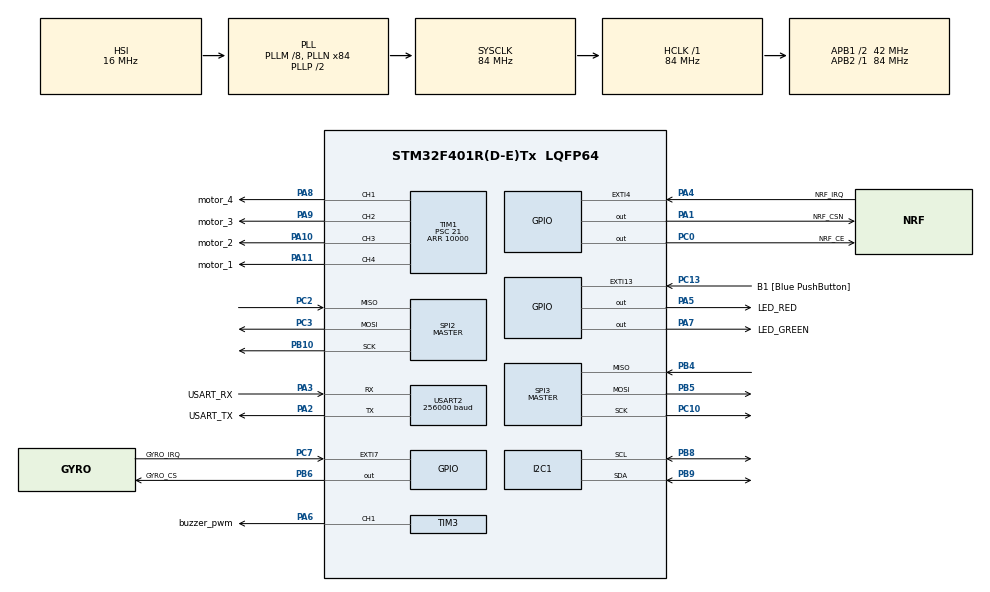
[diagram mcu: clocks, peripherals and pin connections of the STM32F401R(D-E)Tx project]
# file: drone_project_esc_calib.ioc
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Mcu.Family=STM32F4
Mcu.Name=STM32F401R(D-E)Tx
Mcu.Package=LQFP64
NVIC.EXTI4_IRQn=true\:0\:0\:false\:false\:true\:true\:true\:true
NVIC.EXTI9_5_IRQn=true\:0\:0\:false\:false\:true\:true\:true\:true
NVIC.PriorityGroup=NVIC_PRIORITYGROUP_0
NVIC.TIM2_IRQn=true\:0\:0\:false\:false\:true\:true\:true\:true
NVIC.USART2_IRQn=true\:0\:0\:false\:false\:true\:true\:true\:true
PA1.GPIO_Label=NRF_CSN
PA1.Signal=GPIO_Output
PA10.GPIO_Label=motor_2
PA10.Signal=S_TIM1_CH3
PA11.GPIO_Label=motor_1
PA11.Signal=S_TIM1_CH4
PA13.GPIO_Label=TMS
PA13.Signal=SYS_JTMS-SWDIO
PA14.GPIO_Label=TCK
PA14.Signal=SYS_JTCK-SWCLK
PA2.GPIO_Label=USART_TX
PA2.GPIO_Mode=GPIO_MODE_AF_PP
PA2.GPIO_PuPd=GPIO_NOPULL
PA2.GPIO_Speed=GPIO_SPEED_FREQ_LOW
PA2.Mode=Asynchronous
PA2.Signal=USART2_TX
PA3.GPIO_Label=USART_RX
PA3.GPIO_Mode=GPIO_MODE_AF_PP
PA3.GPIO_PuPd=GPIO_NOPULL
PA3.GPIO_Speed=GPIO_SPEED_FREQ_LOW
PA3.Mode=Asynchronous
PA3.Signal=USART2_RX
PA4.GPIO_Label=NRF_IRQ
PA4.GPIO_ModeDefaultEXTI=GPIO_MODE_IT_FALLING
PA4.Signal=GPXTI4
PA5.GPIO_Label=LED_RED
PA5.GPIO_Mode=GPIO_MODE_OUTPUT_PP
PA5.GPIO_PuPd=GPIO_NOPULL
PA5.GPIO_Speed=GPIO_SPEED_FREQ_LOW
PA5.Signal=GPIO_Output
PA6.GPIO_Label=buzzer_pwm
PA6.Signal=S_TIM3_CH1
PA7.GPIO_Label=LED_GREEN
PA7.Signal=GPIO_Output
PA8.GPIO_Label=motor_4
PA8.Signal=S_TIM1_CH1
PA9.GPIO_Label=motor_3
PA9.Signal=S_TIM1_CH2
PB10.Mode=Full_Duplex_Master
PB10.Signal=SPI2_SCK
PB3.GPIO_Label=SWO
PB3.Signal=SYS_JTDO-SWO
PB4.Mode=Full_Duplex_Master
PB4.Signal=SPI3_MISO
PB5.Mode=Full_Duplex_Master
PB5.Signal=SPI3_MOSI
PB6.GPIO_Label=GYRO_CS
PB6.GPIO_PuPd=GPIO_NOPULL
PB6.Signal=GPIO_Output
PB8.Mode=I2C
PB8.Signal=I2C1_SCL
PB9.Mode=I2C
PB9.Signal=I2C1_SDA
PC0.GPIO_Label=NRF_CE
PC0.Signal=GPIO_Output
PC10.Mode=Full_Duplex_Master
PC10.Signal=SPI3_SCK
PC13-ANTI_TAMP.GPIO_Label=B1 [Blue PushButton]
PC13-ANTI_TAMP.GPIO_ModeDefaultEXTI=GPIO_MODE_IT_FALLING
PC13-ANTI_TAMP.GPIO_PuPd=GPIO_NOPULL
PC13-ANTI_TAMP.Signal=GPXTI13
PC14-OSC32_IN.Signal=RCC_OSC32_IN
PC15-OSC32_OUT.Signal=RCC_OSC32_OUT
PC2.Mode=Full_Duplex_Master
PC2.Signal=SPI2_MISO
PC3.Mode=Full_Duplex_Master
PC3.Signal=SPI2_MOSI
PC7.GPIO_Label=GYRO_IRQ
PC7.Signal=GPXTI7
PH0\ -\ OSC_IN.Mode=HSE-External-Clock-Source
PH0\ -\ OSC_IN.Signal=RCC_OSC_IN
PH1\ -\ OSC_OUT.Mode=HSE-External-Clock-Source
PH1\ -\ OSC_OUT.Signal=RCC_OSC_OUT
ProjectManager.HeapSize=0x200
ProjectManager.StackSize=0x400
ProjectManager.TargetToolchain=STM32CubeIDE
RCC.48MHZClocksFreq_Value=24000000
RCC.AHBFreq_Value=84000000
RCC.APB1CLKDivider=RCC_HCLK_DIV2
RCC.APB1Freq_Value=42000000
RCC.APB1TimFreq_Value=84000000
RCC.APB2Freq_Value=84000000
RCC.APB2TimFreq_Value=84000000
RCC.CortexFreq_Value=84000000
RCC.HCLKFreq_Value=84000000
RCC.HSE_VALUE=8000000
RCC.HSI_VALUE=16000000
RCC.LSE_VALUE=32768
RCC.PLLM=8
RCC.PLLN=84
RCC.PLLQ=7
RCC.SYSCLKFreq_VALUE=84000000
RCC.SYSCLKSource=RCC_SYSCLKSOURCE_PLLCLK
RCC.VCOOutputFreq_Value=168000000
SH.S_TIM1_CH1.0=TIM1_CH1,PWM Generation1 CH1
SH.S_TIM1_CH2.0=TIM1_CH2,PWM Generation2 CH2
SH.S_TIM1_CH3.0=TIM1_CH3,PWM Generation3 CH3
SH.S_TIM1_CH4.0=TIM1_CH4,PWM Generation4 CH4
SH.S_TIM3_CH1.0=TIM3_CH1,PWM Generation1 CH1
SPI2.BaudRatePrescaler=SPI_BAUDRATEPRESCALER_16
SPI2.Direction=SPI_DIRECTION_2LINES
SPI2.Mode=SPI_MODE_MASTER
SPI2.VirtualType=VM_MASTER
SPI3.BaudRatePrescaler=SPI_BAUDRATEPRESCALER_32
SPI3.Direction=SPI_DIRECTION_2LINES
SPI3.Mode=SPI_MODE_MASTER
SPI3.VirtualType=VM_MASTER
TIM1.AutoReloadPreload=TIM_AUTORELOAD_PRELOAD_ENABLE
TIM1.Channel-PWM\ Generation1\ CH1=TIM_CHANNEL_1
TIM1.Channel-PWM\ Generation2\ CH2=TIM_CHANNEL_2
TIM1.Channel-PWM\ Generation3\ CH3=TIM_CHANNEL_3
TIM1.Channel-PWM\ Generation4\ CH4=TIM_CHANNEL_4
TIM1.ClockDivision=TIM_CLOCKDIVISION_DIV1
TIM1.Period=10000
TIM1.Prescaler=21
TIM1.Pulse-PWM\ Generation1\ CH1=4000
TIM1.Pulse-PWM\ Generation2\ CH2=4000
TIM1.Pulse-PWM\ Generation3\ CH3=4000
TIM1.Pulse-PWM\ Generation4\ CH4=4000
TIM2.Period=84000
TIM3.AutoReloadPreload=TIM_AUTORELOAD_PRELOAD_ENABLE
TIM3.Channel-PWM\ Generation1\ CH1=TIM_CHANNEL_1
TIM3.Period=21
TIM3.Prescaler=999
TIM3.Pulse-PWM\ Generation1\ CH1=11
USART2.BaudRate=256000
USART2.VirtualMode=VM_ASYNC
VP_TIM1_VS_ClockSourceINT.Mode=Internal
VP_TIM2_VS_ClockSourceINT.Mode=Internal
VP_TIM3_VS_ClockSourceINT.Mode=Internal
board=NUCLEO-F401RE

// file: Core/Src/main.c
/* USER CODE BEGIN Header */
/**
  ******************************************************************************
  * @file           : main.c
  * @brief          : Main program body
  ******************************************************************************
  * @attention
  *
  * Copyright (c) 2024 STMicroelectronics.
  * All rights reserved.
  *
  * This software is licensed under terms that can be found in the LICENSE file
  * in the root directory of this software component.
  * If no LICENSE file comes with this software, it is provided AS-IS.
  *
  ******************************************************************************
  */
/* USER CODE END Header */
#include "main.h"
#include "i2c.h"
#include "spi.h"
#include "tim.h"
#include "usart.h"
#include "gpio.h"

/* USER CODE BEGIN Includes */
#include <stdio.h>
#include "mpu6500.h"
#include "nrf24l01.h"
#include "fc.h"
//#define TRANSMITTER or RECEIVER
#define RECEIVER

/* USER CODE END Includes */

/* USER CODE BEGIN PV */
uint16_t usart_data_req = 0 ;
uint8_t usart_rx_data  = 0;
uint8_t mpu_update = 0;
uint8_t Transmitter_Rx_flag = 0;
uint8_t RxNumber = 10;
uint16_t RxBuffer[NRF24L01_PAYLOAD_LENGTH /2] = { 0};

float gx, gy, gz ;
float ax, ay, az ;

//uint16_t throttle = 0, yaw = 0, pitch = 0, roll = 0;
int16_t throttle = 0, yaw = 0, pitch = 0, roll = 0;

uint8_t pid_1ms_flag = 0 ;

uint8_t esc_calib_flag = 0;

//uint16_t arming_2sec_counter = 0 ;
uint8_t arming_flag_2sec = 0 ;

uint8_t timer_counter_200ms = 0 ;
uint8_t timer_counter_flag_200ms = 0 ;

uint32_t ccr1 = 0 ;
uint32_t ccr2 = 0 ;
uint32_t ccr3 = 0 ;
uint32_t ccr4 = 0 ;

uint8_t bool_1 = 1 ;

/* USER CODE END PV */

void SystemClock_Config(void);
/* USER CODE BEGIN PFP */

void Custom_GPIO_EXTI_Callback(uint16_t GPIO_Pin);

/* USER CODE END PFP */

/* USER CODE BEGIN 0 */

int __io_putchar(int ch){
	while( !(LL_USART_IsActiveFlag_TXE(USART2))) ;
    LL_USART_TransmitData8(USART2, ch) ;
    return ch ;
}

void Custom_GPIO_EXTI_Callback(uint16_t GPIO_Pin) {
	if(GPIO_Pin == NRF_IRQ_Pin)
	{
		Transmitter_Rx_flag =1;
		NRF24L01_RxReceive((uint8_t *)RxBuffer, &RxNumber, 2000);

	}
}

/* USER CODE END 0 */

int main(void)
{

  /* MCU Configuration--------------------------------------------------------*/

  /* Reset of all peripherals, Initializes the Flash interface and the Systick. */
  HAL_Init();

  /* Configure the system clock */
  SystemClock_Config();

  /* Initialize all configured peripherals */
  MX_GPIO_Init();
  MX_SPI2_Init();
  MX_I2C1_Init();
  MX_SPI3_Init();
  MX_TIM1_Init();
  MX_TIM3_Init();
  MX_USART2_UART_Init();
  MX_TIM2_Init();
  /* USER CODE BEGIN 2 */
  LL_USART_EnableIT_RXNE(USART2) ;
//  BUZZER_POWER_UP(1)
  HAL_Delay(100) ;
  mpu_init(SPI3 , GFS_2000DPS ,AFS_16G) ;
  calib_mpu() ;
  _blink_lights(1)
  _wireless_setup(1)
  LL_TIM_EnableIT_UPDATE(TIM2) ;
  LL_TIM_EnableCounter(TIM2) ;

  /* USER CODE END 2 */

  /* Infinite loop */
  while (1)
  {

    /* USER CODE BEGIN 3 */

	  if (usart_data_req == 1 ) {
		usart_data_req = 0  ;
		usart_rx_data = LL_USART_ReceiveData8(USART2);
        LL_USART_TransmitData8(USART2, usart_rx_data) ;

        switch (usart_rx_data) {
			case '0':
		         LL_GPIO_TogglePin(LED_RED_GPIO_Port, LED_RED_Pin | LED_GREEN_Pin);
				break;
			case '1':
				 LL_TIM_CC_EnableChannel(TIM3, LL_TIM_CHANNEL_CH1);
				break;
			case '2':
				 LL_TIM_CC_DisableChannel(TIM3, LL_TIM_CHANNEL_CH1);
				break;
			case '3' :
				esc_calib_flag = 1;
				BUZZER_CALIB_MODE(1) ;
				break ;

       }
	}

	if (mpu_update == 1) {
		mpu_update = 0 ;
		readSensor() ;
		getGyro(&gx, &gy, &gz) ;
		getAccel(&ax, &ay, &az) ;
	}

  if (Transmitter_Rx_flag == 1) {
	  throttle = RxBuffer[0] ;
	  throttle = throttle < 4 ? 0 : throttle ;
	  throttle = throttle >4001 ? 4000 : throttle ;

	  yaw      = RxBuffer[1] - (uint16_t)2050 ;
	  yaw  = (( 8 > yaw )&&( yaw > -6 ))? 0 : yaw ;
      yaw  = yaw > 2001? 2000 : yaw;
      yaw  = yaw < -2001? -2000 : yaw;

	  pitch    = RxBuffer[2] - (uint16_t)2065 ;
	  pitch  = (( 8 > pitch) &&( pitch > -4 ))? 0 : pitch ;
	  pitch  = pitch > 2001? 2000 : pitch;
	  pitch  = pitch < -2001? -2000 : pitch;

	  roll     = RxBuffer[3] - (uint16_t)2110 ;
	  roll  = (( 5 > roll )&&( roll > -5) )? 0 : roll;
	  roll  = roll> 2001? 2000 : roll;
	  roll  = roll< -2001? -2000 : roll;

	  Transmitter_Rx_flag = 0;
   }

	if (arming_flag_2sec == 0 && (( throttle <= 0 ) && (yaw >= 1950) && (pitch <= -1950) && (roll >= 1950))) {
	  // allow the motors to turn on
	  HAL_Delay(1000) ;
	  HAL_Delay(1000) ;
	  if (arming_flag_2sec == 0 && (( throttle <= 0 ) && (yaw >= 1950) && (pitch <= -1950) && (roll >= 1950))) {
	      BUZZER_ARMED(1) ;
	      arming_flag_2sec = 1;
	      LL_GPIO_SetOutputPin(LED_GREEN_GPIO_Port, LED_GREEN_Pin) ;
	      _esc_setup_(1) ;
	  }
}

  if (arming_flag_2sec == 1 && (( throttle <= 0 ) && (yaw <= -1950) && (pitch <= -1950) && (roll <= -1950))) {
	  // allow the motors to turn off

	  if (arming_flag_2sec == 1 && (( throttle <= 0 ) && (yaw  <= -1950 ) && (pitch <= -1950) && (roll  <= -1950))) {
	  arming_flag_2sec = 0 ;
	  BUZZER_UNARMED(1) ;
	  _esc_desetup_(1) ;
	  LL_GPIO_ResetOutputPin(LED_GREEN_GPIO_Port, LED_GREEN_Pin) ;
	  }
}

if (bool_1 == 1) {
	  LL_GPIO_SetOutputPin(LED_GREEN_GPIO_Port, LED_GREEN_Pin) ;
		HAL_Delay(1000) ;
		HAL_Delay(1000) ;
		HAL_Delay(1000) ;
		HAL_Delay(1000) ;
		HAL_Delay(1000) ;
		  LL_GPIO_ResetOutputPin(LED_GREEN_GPIO_Port, LED_GREEN_Pin) ;
	  LL_TIM_OC_SetCompareCH1(TIM1, throttle*0.5 + 4000);
	  LL_TIM_OC_SetCompareCH2(TIM1, throttle*0.5 + 4000);
	  LL_TIM_OC_SetCompareCH3(TIM1, throttle*0.5 + 4000);
	  LL_TIM_OC_SetCompareCH4(TIM1, throttle*0.5 + 4000);

	  LL_TIM_EnableCounter(TIM1) ;
	  TIM1->BDTR |= (1 << 15);
	  LL_TIM_CC_EnableChannel(TIM1, LL_TIM_CHANNEL_CH1) ;
	  LL_TIM_CC_EnableChannel(TIM1, LL_TIM_CHANNEL_CH2) ;
	  LL_TIM_CC_EnableChannel(TIM1, LL_TIM_CHANNEL_CH3) ;
	  LL_TIM_CC_EnableChannel(TIM1, LL_TIM_CHANNEL_CH4) ;

	  bool_1 = 0 ;
}

if (pid_1ms_flag == 1) {
	pid_1ms_flag == 0 ;
	  TIM1->CCR1 = 4000 + throttle;
	  TIM1->CCR2 = 4000 + throttle;
	  TIM1->CCR3 = 4000 + throttle;
	  TIM1->CCR4 = 4000 + throttle;

}

//	ccr1 = 4000  + (throttle );
//	ccr2 = 4000  + (throttle );
//	ccr3 = 4000  + (throttle );
//	ccr4 = 4000  + (throttle );

  }

  /* USER CODE END 3 */
}

void SystemClock_Config(void)
{
  RCC_OscInitTypeDef RCC_OscInitStruct = {0};
  RCC_ClkInitTypeDef RCC_ClkInitStruct = {0};

  /** Configure the main internal regulator output voltage
  */
  __HAL_RCC_PWR_CLK_ENABLE();
  __HAL_PWR_VOLTAGESCALING_CONFIG(PWR_REGULATOR_VOLTAGE_SCALE2);

  /** Initializes the RCC Oscillators according to the specified parameters
  * in the RCC_OscInitTypeDef structure.
  */
  RCC_OscInitStruct.OscillatorType = RCC_OSCILLATORTYPE_HSI;
  RCC_OscInitStruct.HSIState = RCC_HSI_ON;
  RCC_OscInitStruct.HSICalibrationValue = RCC_HSICALIBRATION_DEFAULT;
  RCC_OscInitStruct.PLL.PLLState = RCC_PLL_ON;
  RCC_OscInitStruct.PLL.PLLSource = RCC_PLLSOURCE_HSI;
  RCC_OscInitStruct.PLL.PLLM = 8;
  RCC_OscInitStruct.PLL.PLLN = 84;
  RCC_OscInitStruct.PLL.PLLP = RCC_PLLP_DIV2;
  RCC_OscInitStruct.PLL.PLLQ = 7;
  if (HAL_RCC_OscConfig(&RCC_OscInitStruct) != HAL_OK)
  {
    Error_Handler();
  }

  /** Initializes the CPU, AHB and APB buses clocks
  */
  RCC_ClkInitStruct.ClockType = RCC_CLOCKTYPE_HCLK|RCC_CLOCKTYPE_SYSCLK
                              |RCC_CLOCKTYPE_PCLK1|RCC_CLOCKTYPE_PCLK2;
  RCC_ClkInitStruct.SYSCLKSource = RCC_SYSCLKSOURCE_PLLCLK;
  RCC_ClkInitStruct.AHBCLKDivider = RCC_SYSCLK_DIV1;
  RCC_ClkInitStruct.APB1CLKDivider = RCC_HCLK_DIV2;
  RCC_ClkInitStruct.APB2CLKDivider = RCC_HCLK_DIV1;

  if (HAL_RCC_ClockConfig(&RCC_ClkInitStruct, FLASH_LATENCY_2) != HAL_OK)
  {
    Error_Handler();
  }
}

void Error_Handler(void)
{
  __disable_irq();
  while (1)
  {
  }
}
